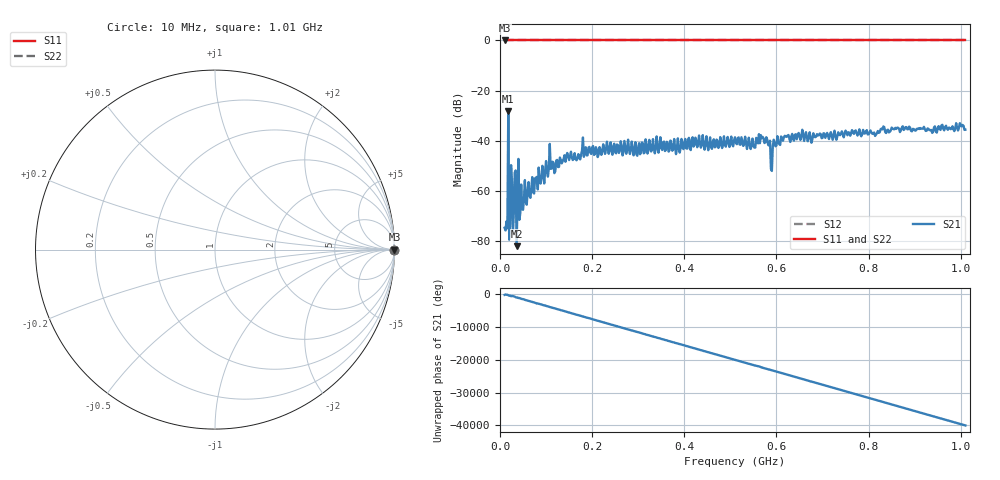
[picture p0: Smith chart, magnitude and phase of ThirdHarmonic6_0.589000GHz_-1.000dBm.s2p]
! 8/15/2025 7:07:05 PM
! C:\ANRITSUVNA\TEMP\TEMP.S2P
! CHANNEL.1
! TR.MEASUREMENT
! RAW.DATA
! RF.CORRECTION.OFF
! AVERAGING.OFF
! IF.BANDWIDTH: 5KHZ
! SWEEPTYPE:  FREQ.SWEEP(Linear)
! Reference Plane Port Info
! PORT:  PORT1  PORT2
! DISTANCE:  0  m  0  m
! TIME:  0  s  0  s
! PHASE.OFFSET:  0  deg.  0  deg.
! LOSS:  0  dB  0  dB
! REF.LOSS:  0  dB  0  dB
! REF.FREQ:  0  Hz  0  Hz
! Power Info
! POWER:  -20  dBm  -20  dBm
! EFF.POWER:  -20  dBm  -20  dBm
! SOURCE.ATTEN:  0  dB  0  dB
! TEST.ATTEN:  0  dB  0  dB
# GHZ S RI R 50.0
! FREQ.GHZ  S11RE  S11IM  S21RE  S21IM  S12RE  S12IM  S22RE  S22IM
!; PortSelection: Port_12
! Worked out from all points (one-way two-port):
!   501 points, 10 MHz to 1.01 GHz, reference 50 ohm
!   highest |S21| = -28.28 dB at 18 MHz (marker M1); lowest = -82.2 dB at 36 MHz (marker M2)
!   lowest |S11| = 0.0 dB at 10 MHz (marker M3)
!   |S11| at or under -10 dB: nowhere
!   |S22| runs from 0.0 to 0.0 dB; largest |S21 - S12| = 1
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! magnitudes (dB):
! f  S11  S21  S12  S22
! 10 MHz  0.0  -74.8  0.0  0.0
! 12 MHz  0.0  -75.9  0.0  0.0
! 14 MHz  0.0  -72.3  0.0  0.0
! 18 MHz  0.0  -28.3  0.0  0.0
! 22 MHz  0.0  -73.3  0.0  0.0
! 24 MHz  0.0  -49.8  0.0  0.0
! 28 MHz  0.0  -77.4  0.0  0.0
! 32 MHz  0.0  -52.8  0.0  0.0
! 36 MHz  0.0  -82.2  0.0  0.0
! 40 MHz  0.0  -47.3  0.0  0.0
! 42 MHz  0.0  -71.6  0.0  0.0
! 46 MHz  0.0  -57.5  0.0  0.0
! 104 MHz  0.0  -54.4  0.0  0.0
! 178 MHz  0.0  -44.0  0.0  0.0
! 344 MHz  0.0  -44.8  0.0  0.0
! 510 MHz  0.0  -38.7  0.0  0.0
! 566 MHz  0.0  -37.8  0.0  0.0
! 588 MHz  0.0  -51.3  0.0  0.0
! 622 MHz  0.0  -38.5  0.0  0.0
! 678 MHz  0.0  -39.3  0.0  0.0
! 844 MHz  0.0  -36.7  0.0  0.0
! 1.01 GHz  0.0  -35.7  0.0  0.0
